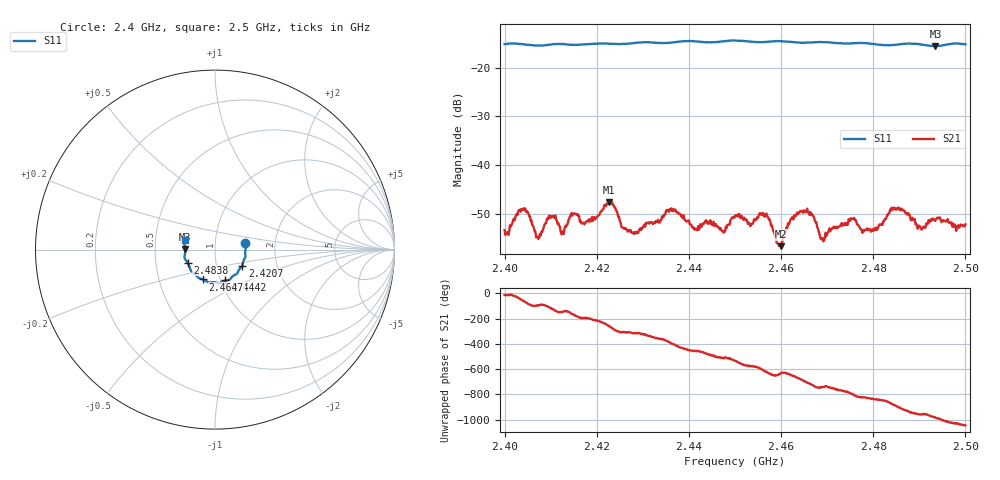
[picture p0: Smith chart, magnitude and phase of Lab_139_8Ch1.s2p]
# Hz S RI R 50
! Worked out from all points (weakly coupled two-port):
!   601 points, 2.4 GHz to 2.5 GHz, reference 50 ohm
!   highest |S21| = -47.57 dB at 2.4227 GHz (marker M1); lowest = -56.5 dB at 2.46 GHz (marker M2)
!   lowest |S11| = -15.6 dB at 2.4935 GHz (marker M3), VSWR 1.40, Z = 35.8 + j0.132 ohm
!   |S11| at or under -10 dB: start of sweep to end of sweep
!   S12 and S22 are empty: the file has one direction only
!   S11 on the Smith chart (normalised r, x): 2.4 GHz: 1.40, +0.11; 2.4207 GHz: 1.33, -0.24; 2.4442 GHz: 1.05, -0.37; 2.4647 GHz: 0.83, -0.29; 2.4838 GHz: 0.73, -0.11; 2.5 GHz: 0.71, +0.08
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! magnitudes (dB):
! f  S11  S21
! 2.4 GHz  -15.2  -53.2
! 2.404 GHz  -15.2  -49.1
! 2.4073 GHz  -15.5  -55.1
! 2.4102 GHz  -15.3  -50.5
! 2.4125 GHz  -15.2  -54.0
! 2.4147 GHz  -15.4  -50.3
! 2.4167 GHz  -15.3  -51.8
! 2.4207 GHz  -15.1  -49.9
! 2.4227 GHz  -15.1  -47.6
! 2.4278 GHz  -15.0  -53.8
! 2.4333 GHz  -15.0  -51.1
! 2.4442 GHz  -14.9  -52.0
! 2.45 GHz  -14.5  -50.3
! 2.4565 GHz  -14.8  -50.5
! 2.46 GHz  -14.6  -56.5
! 2.4647 GHz  -14.9  -49.6
! 2.4667 GHz  -14.9  -49.9
! 2.469 GHz  -14.8  -54.9
! 2.4833 GHz  -15.5  -49.8
! 2.4838 GHz  -15.4  -49.3
! 2.4935 GHz  -15.6  -51.3
! 2.5 GHz  -15.3  -52.1
